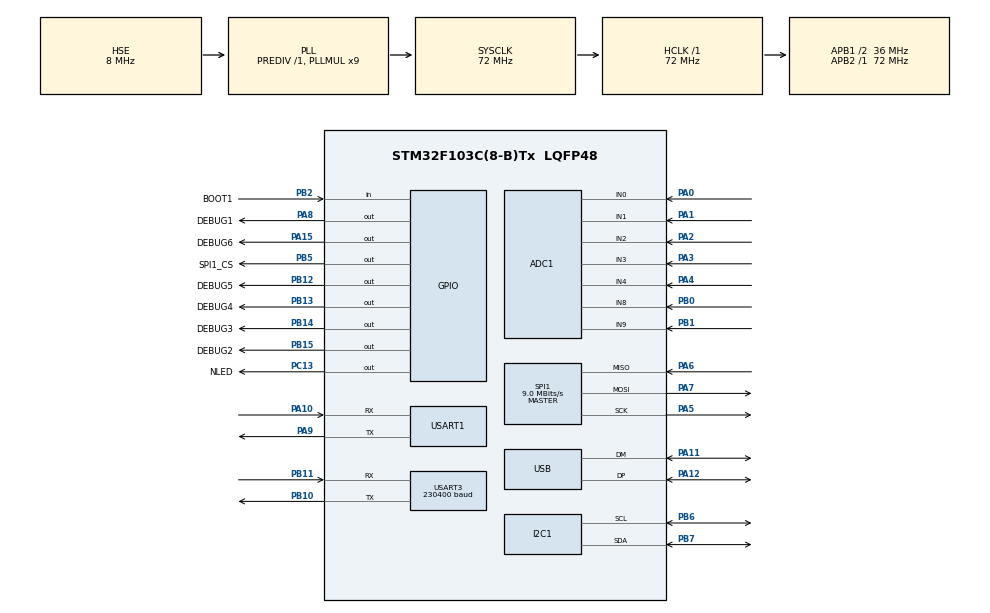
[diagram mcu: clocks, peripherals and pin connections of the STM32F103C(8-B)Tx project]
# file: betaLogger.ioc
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ADC1.Channel-0\#ChannelRegularConversion=ADC_CHANNEL_0
ADC1.Channel-1\#ChannelRegularConversion=ADC_CHANNEL_1
ADC1.Channel-2\#ChannelRegularConversion=ADC_CHANNEL_2
ADC1.Channel-3\#ChannelRegularConversion=ADC_CHANNEL_3
ADC1.Channel-4\#ChannelRegularConversion=ADC_CHANNEL_4
ADC1.Channel-5\#ChannelRegularConversion=ADC_CHANNEL_8
ADC1.Channel-6\#ChannelRegularConversion=ADC_CHANNEL_9
ADC1.ExternalTrigConv=ADC_EXTERNALTRIGCONV_T3_TRGO
ADC1.NbrOfConversion=7
ADC1.NbrOfConversionFlag=1
ADC1.Rank-0\#ChannelRegularConversion=1
ADC1.Rank-1\#ChannelRegularConversion=2
ADC1.Rank-2\#ChannelRegularConversion=3
ADC1.Rank-3\#ChannelRegularConversion=4
ADC1.Rank-4\#ChannelRegularConversion=5
ADC1.Rank-5\#ChannelRegularConversion=6
ADC1.Rank-6\#ChannelRegularConversion=7
ADC1.SamplingTime-0\#ChannelRegularConversion=ADC_SAMPLETIME_1CYCLE_5
ADC1.SamplingTime-1\#ChannelRegularConversion=ADC_SAMPLETIME_1CYCLE_5
ADC1.SamplingTime-2\#ChannelRegularConversion=ADC_SAMPLETIME_1CYCLE_5
ADC1.SamplingTime-3\#ChannelRegularConversion=ADC_SAMPLETIME_1CYCLE_5
ADC1.SamplingTime-4\#ChannelRegularConversion=ADC_SAMPLETIME_1CYCLE_5
ADC1.SamplingTime-5\#ChannelRegularConversion=ADC_SAMPLETIME_1CYCLE_5
ADC1.SamplingTime-6\#ChannelRegularConversion=ADC_SAMPLETIME_1CYCLE_5
ADC1.master=1
Dma.ADC1.2.Direction=DMA_PERIPH_TO_MEMORY
Dma.ADC1.2.Instance=DMA1_Channel1
Dma.ADC1.2.MemDataAlignment=DMA_MDATAALIGN_HALFWORD
Dma.ADC1.2.MemInc=DMA_MINC_ENABLE
Dma.ADC1.2.Mode=DMA_CIRCULAR
Dma.ADC1.2.PeriphDataAlignment=DMA_PDATAALIGN_HALFWORD
Dma.ADC1.2.PeriphInc=DMA_PINC_DISABLE
Dma.ADC1.2.Priority=DMA_PRIORITY_HIGH
Dma.Request0=USART3_RX
Dma.Request1=USART3_TX
Dma.Request2=ADC1
Dma.USART3_RX.0.Direction=DMA_PERIPH_TO_MEMORY
Dma.USART3_RX.0.Instance=DMA1_Channel3
Dma.USART3_RX.0.MemDataAlignment=DMA_MDATAALIGN_BYTE
Dma.USART3_RX.0.MemInc=DMA_MINC_ENABLE
Dma.USART3_RX.0.Mode=DMA_NORMAL
Dma.USART3_RX.0.PeriphDataAlignment=DMA_PDATAALIGN_BYTE
Dma.USART3_RX.0.PeriphInc=DMA_PINC_DISABLE
Dma.USART3_RX.0.Priority=DMA_PRIORITY_VERY_HIGH
Dma.USART3_TX.1.Direction=DMA_MEMORY_TO_PERIPH
Dma.USART3_TX.1.Instance=DMA1_Channel2
Dma.USART3_TX.1.MemDataAlignment=DMA_MDATAALIGN_BYTE
Dma.USART3_TX.1.MemInc=DMA_MINC_ENABLE
Dma.USART3_TX.1.Mode=DMA_NORMAL
Dma.USART3_TX.1.PeriphDataAlignment=DMA_PDATAALIGN_BYTE
Dma.USART3_TX.1.PeriphInc=DMA_PINC_DISABLE
Dma.USART3_TX.1.Priority=DMA_PRIORITY_VERY_HIGH
I2C1.I2C_Mode=I2C_Fast
Mcu.Family=STM32F1
Mcu.Name=STM32F103C(8-B)Tx
Mcu.Package=LQFP48
NVIC.ADC1_2_IRQn=true\:0\:0\:true\:false\:true\:true\:true
NVIC.DMA1_Channel1_IRQn=true\:0\:0\:false\:false\:true\:false\:true
NVIC.DMA1_Channel2_IRQn=true\:0\:0\:false\:false\:true\:false\:true
NVIC.DMA1_Channel3_IRQn=true\:0\:0\:false\:false\:true\:false\:true
NVIC.I2C1_ER_IRQn=true\:0\:0\:true\:false\:true\:true\:true
NVIC.I2C1_EV_IRQn=true\:0\:0\:true\:false\:true\:true\:true
NVIC.PriorityGroup=NVIC_PRIORITYGROUP_4
NVIC.TIM3_IRQn=true\:0\:0\:true\:false\:true\:true\:true
NVIC.USART3_IRQn=true\:15\:0\:true\:false\:true\:true\:true
PA0-WKUP.Signal=ADCx_IN0
PA1.Signal=ADCx_IN1
PA10.Mode=Asynchronous
PA10.Signal=USART1_RX
PA11.Mode=Device
PA11.Signal=USB_DM
PA12.Mode=Device
PA12.Signal=USB_DP
PA13.Mode=Serial_Wire
PA13.Signal=SYS_JTMS-SWDIO
PA14.Mode=Serial_Wire
PA14.Signal=SYS_JTCK-SWCLK
PA15.GPIO_Label=DEBUG6
PA15.Signal=GPIO_Output
PA2.Signal=ADCx_IN2
PA3.Signal=ADCx_IN3
PA4.Signal=ADCx_IN4
PA5.Mode=Full_Duplex_Master
PA5.Signal=SPI1_SCK
PA6.Mode=Full_Duplex_Master
PA6.Signal=SPI1_MISO
PA7.Mode=Full_Duplex_Master
PA7.Signal=SPI1_MOSI
PA8.GPIO_Label=DEBUG1
PA8.Signal=GPIO_Output
PA9.Mode=Asynchronous
PA9.Signal=USART1_TX
PB0.Signal=ADCx_IN8
PB1.Signal=ADCx_IN9
PB10.Mode=Asynchronous
PB10.Signal=USART3_TX
PB11.Mode=Asynchronous
PB11.Signal=USART3_RX
PB12.GPIO_Label=DEBUG5
PB12.Signal=GPIO_Output
PB13.GPIO_Label=DEBUG4
PB13.Signal=GPIO_Output
PB14.GPIO_Label=DEBUG3
PB14.Signal=GPIO_Output
PB15.GPIO_Label=DEBUG2
PB15.Signal=GPIO_Output
PB2.GPIO_Label=BOOT1
PB2.Signal=GPIO_Input
PB5.GPIO_Label=SPI1_CS
PB5.Signal=GPIO_Output
PB6.Mode=I2C
PB6.Signal=I2C1_SCL
PB7.Mode=I2C
PB7.Signal=I2C1_SDA
PC13-TAMPER-RTC.GPIO_Label=NLED
PC13-TAMPER-RTC.PinState=GPIO_PIN_SET
PC13-TAMPER-RTC.Signal=GPIO_Output
PD0-OSC_IN.Mode=HSE-External-Oscillator
PD0-OSC_IN.Signal=RCC_OSC_IN
PD1-OSC_OUT.Mode=HSE-External-Oscillator
PD1-OSC_OUT.Signal=RCC_OSC_OUT
ProjectManager.HeapSize=0x400
ProjectManager.StackSize=0x800
ProjectManager.TargetToolchain=Makefile
RCC.ADCPresc=RCC_ADCPCLK2_DIV6
RCC.AHBFreq_Value=72000000
RCC.APB1CLKDivider=RCC_HCLK_DIV2
RCC.APB1Freq_Value=36000000
RCC.APB1TimFreq_Value=72000000
RCC.APB2Freq_Value=72000000
RCC.APB2TimFreq_Value=72000000
RCC.HCLKFreq_Value=72000000
RCC.PLLMUL=RCC_PLL_MUL9
RCC.PLLSourceVirtual=RCC_PLLSOURCE_HSE
RCC.RCC_MCOSource=RCC_MCO1SOURCE_PLLCLK
RCC.SYSCLKFreq_VALUE=72000000
RCC.SYSCLKSource=RCC_SYSCLKSOURCE_PLLCLK
RCC.USBFreq_Value=48000000
RCC.USBPrescaler=RCC_USBCLKSOURCE_PLL_DIV1_5
SH.ADCx_IN0.0=ADC1_IN0,IN0
SH.ADCx_IN1.0=ADC1_IN1,IN1
SH.ADCx_IN2.0=ADC1_IN2,IN2
SH.ADCx_IN3.0=ADC1_IN3,IN3
SH.ADCx_IN4.0=ADC1_IN4,IN4
SH.ADCx_IN8.0=ADC1_IN8,IN8
SH.ADCx_IN9.0=ADC1_IN9,IN9
SPI1.BaudRatePrescaler=SPI_BAUDRATEPRESCALER_8
SPI1.CLKPhase=SPI_PHASE_2EDGE
SPI1.CLKPolarity=SPI_POLARITY_HIGH
SPI1.CalculateBaudRate=9.0 MBits/s
SPI1.Direction=SPI_DIRECTION_2LINES
SPI1.Mode=SPI_MODE_MASTER
SPI1.VirtualType=VM_MASTER
TIM3.Period=599
TIM3.Prescaler=599
TIM3.TIM_MasterOutputTrigger=TIM_TRGO_UPDATE
USART1.VirtualMode=VM_ASYNC
USART3.BaudRate=230400
USART3.VirtualMode=VM_ASYNC
VP_TIM3_VS_ClockSourceINT.Mode=Internal
board=custom

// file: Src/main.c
/* USER CODE BEGIN Header */
/**
  ******************************************************************************
  * @file           : main.c
  * @brief          : Main program body
  ******************************************************************************
  * @attention
  *
  * <h2><center>&copy; Copyright (c) 2019 STMicroelectronics.
  * All rights reserved.</center></h2>
  *
  * This software component is licensed by ST under BSD 3-Clause license,
  * the "License"; You may not use this file except in compliance with the
  * License. You may obtain a copy of the License at:
  *                        opensource.org/licenses/BSD-3-Clause
  *
  ******************************************************************************
  */
/* USER CODE END Header */

#include "main.h"
#include "adc.h"
#include "dma.h"
#include "i2c.h"
#include "spi.h"
#include "tim.h"
#include "usart.h"
#include "usb.h"
#include "gpio.h"

/* USER CODE BEGIN Includes */
#include <string.h>
#include <stdio.h>
#include "ff.h"

/* USER CODE END Includes */

/* USER CODE BEGIN PV */
FATFS SDFatFs;  /* File system object for SD card logical drive */
FIL MyFile;     /* File object */
char SDPath[4]; /* SD card logical drive path */
uint32_t byteswritten;                     /* File write/read counts */
FRESULT res;

char textTxBuffer[500];
char mpuBuffer[42];
char timeBuffer[12];
char adcBuffer[35];

uint8_t gpsReady;
uint8_t rawGps[51];
uint8_t sdBufferA[20][119];
uint8_t sdBufferB[20][119];
uint8_t sdBufferC[20][119];

uint16_t rawAdc[7];
uint8_t rawMpu[14];
uint8_t adcReady, mpuReady, timReady, nBuffer, dataReady;
/* USER CODE END PV */

void SystemClock_Config(void);

int main(void)
{
    /* USER CODE BEGIN 1 */
    char fileName[13];
    char fileHeader[184];
    uint16_t fileNumber = 0;

    uint8_t mpuConfigTx, mpuConfigRx;

    /* USER CODE END 1 */

    /* MCU Configuration--------------------------------------------------------*/

    /* Reset of all peripherals, Initializes the Flash interface and the Systick. */
    HAL_Init();

    /* Configure the system clock */
    SystemClock_Config();

    /* Initialize all configured peripherals */
    MX_GPIO_Init();
    MX_DMA_Init();
    MX_TIM3_Init();
    MX_USART1_UART_Init();
    MX_SPI1_Init();
    MX_USART3_UART_Init();
    MX_ADC1_Init();
    MX_I2C1_Init();
    MX_USB_PCD_Init();
    /* USER CODE BEGIN 2 */
    sprintf(textTxBuffer, "betaLogger USART1 test\r");
    HAL_UART_Transmit(&huart1, (uint8_t *)textTxBuffer, strlen(textTxBuffer), 500);

    f_mount(&SDFatFs, (TCHAR const *)SDPath, 0);
    while (res == FR_OK) {
        sprintf(fileName, "file%04d.dlf", ++fileNumber);
        res = f_open(&MyFile, fileName, FA_OPEN_EXISTING | FA_READ);
    }
    f_open(&MyFile, fileName, FA_OPEN_ALWAYS | FA_WRITE);
    sprintf(fileHeader,
            "#V2\r#DATASTART\rDatalog Time; GPS Latitude; GPS Longitude; GPS Speed;Ax;Ay;Az;Gx;Gy;Gz;A1;A2;A3;A4;A5;A6;A7;\rseg.; deg; deg; knots;un.;un.;un.;un.;un.;un.;un.;un.;un.;un.;un.;un.;un.;\r");
    fileHeader[183] = 0x0A;
    f_write(&MyFile, fileHeader, sizeof(fileHeader), (void *)&byteswritten);
    f_sync(&MyFile);

    for(int i = 0; i < 20; i++) {
        for(int j = 0; j < 82; j++) {
            sdBufferA[i][j] = 0x30;
        }
        sdBufferA[i][10] = 0x41;
        sdBufferA[i][22] = 0x41;
        sdBufferA[i][34] = 0x41;
        sdBufferA[i][40] = 0x41;
        sdBufferA[i][47] = 0x41;
        sdBufferA[i][54] = 0x41;
        sdBufferA[i][61] = 0x41;
        sdBufferA[i][68] = 0x41;
        sdBufferA[i][75] = 0x41;
        sdBufferA[i][82] = 0x41;
        sdBufferA[i][87] = 0x41;
        sdBufferA[i][92] = 0x41;
        sdBufferA[i][97] = 0x41;
        sdBufferA[i][102] = 0x41;
        sdBufferA[i][107] = 0x41;
        sdBufferA[i][112] = 0x41;
        sdBufferA[i][117] = 0x0D;
        sdBufferA[i][118] = 0x0A;
    }

    for(int i = 0; i < 20; i++) {
        for(int j = 0; j < 119; j++) {
            sdBufferB[i][j] = sdBufferA[i][j];
            sdBufferC[i][j] = sdBufferA[i][j];
        }
    }

    HAL_I2C_Mem_Read(&hi2c1, 0xD0, 0x75, I2C_MEMADD_SIZE_8BIT, &mpuConfigRx, 1, 100);
    // sprintf(txBuffer, "Slave Address: %x \r", mpuConfigRx);
    // HAL_UART_Transmit(&huart1, (uint8_t *)txBuffer, strlen(txBuffer), 500);

    HAL_I2C_Mem_Read(&hi2c1, 0xD0, 0x1A, I2C_MEMADD_SIZE_8BIT, &mpuConfigRx, 1, 100);
    // sprintf(txBuffer, "FIFO config: %x \r", mpuConfigRx);
    // HAL_UART_Transmit(&huart1, (uint8_t *)txBuffer, strlen(txBuffer), 500);

    mpuConfigTx = 0b00001000;
    HAL_I2C_Mem_Write(&hi2c1, 0xD0, 0x1B, I2C_MEMADD_SIZE_8BIT, &mpuConfigTx, 1, 100);
    HAL_I2C_Mem_Read(&hi2c1, 0xD0, 0x1B, I2C_MEMADD_SIZE_8BIT, &mpuConfigRx, 1, 100);
    // sprintf(txBuffer, "Gyr cfig: %x \r", mpuConfigRx);
    // HAL_UART_Transmit(&huart1, (uint8_t *)txBuffer, strlen(txBuffer), 500);

    mpuConfigTx = 0b00011000;
    HAL_I2C_Mem_Write(&hi2c1, 0xD0, 0x1C, I2C_MEMADD_SIZE_8BIT, &mpuConfigTx, 1, 100);
    HAL_I2C_Mem_Read(&hi2c1, 0xD0, 0x1C, I2C_MEMADD_SIZE_8BIT, &mpuConfigRx, 1, 100);
    // sprintf(txBuffer, "Acc cfig: %x \r", mpuConfigRx);
    // HAL_UART_Transmit(&huart1, (uint8_t *)txBuffer, strlen(txBuffer), 500);

    HAL_UART_Receive_DMA(&huart3, (uint8_t *)&rawGps, 51);
    HAL_TIM_Base_Start_IT(&htim3);
    HAL_ADCEx_Calibration_Start(&hadc1);
    HAL_ADC_Start_DMA(&hadc1, (uint32_t *) rawAdc, 7);

    adcReady = 0;
    mpuReady = 0;
    gpsReady = 0;
    timReady = 0;
    nBuffer = 1;
    /* USER CODE END 2 */

    /* Infinite loop */
    /* USER CODE BEGIN WHILE */
    while (1)
    {
        if (gpsReady == 0) {
            HAL_GPIO_WritePin(GPIOB, GPIO_PIN_15, GPIO_PIN_SET);
            if (rawGps[1] == 0x47 && rawGps[17] == 0x41) {
                // HAL_GPIO_WritePin(GPIOB, GPIO_PIN_15, GPIO_PIN_SET);
                if(nBuffer == 1) {
                    sdBufferA[0][11] = 0x2D;				//-
                    for(int j = 12; j < 22; j++) { 			//latitude
                        sdBufferA[0][j] = rawGps[j+7];
                    }
                    sdBufferA[0][23] = 0x2D;				//-
                    for(int j = 24; j < 34; j++) { 			//longitude
                        sdBufferA[0][j] = rawGps[j+9];
                    }
                    for(int j = 35; j < 40; j++) { 			//speed
                        sdBufferA[0][j] = rawGps[j+11];
                    }

                    for(int i = 1; i < 20; i++) {
                        for(int j = 11; j < 41; j++) {
                            sdBufferA[i][j] = sdBufferA[0][j];
                        }
                    }

                    for(int i = 0; i < 20; i++) {
                        for(int j = 11; j < 41; j++) {
                            sdBufferB[i][j] = sdBufferA[i][j];
                            sdBufferC[i][j] = sdBufferA[i][j];
                        }
                    }
                }
                else if(nBuffer == 2) {
                    sdBufferB[0][11] = 0x2D;				//-
                    for(int j = 12; j < 22; j++) { 			//latitude
                        sdBufferB[0][j] = rawGps[j+7];
                    }
                    sdBufferB[0][23] = 0x2D;				//-
                    for(int j = 24; j < 34; j++) { 			//longitude
                        sdBufferB[0][j] = rawGps[j+9];
                    }
                    for(int j = 35; j < 40; j++) { 			//speed
                        sdBufferB[0][j] = rawGps[j+11];
                    }

                    for(int i = 1; i < 20; i++) {
                        for(int j = 11; j < 41; j++) {
                            sdBufferB[i][j] = sdBufferB[0][j];
                        }
                    }

                    for(int i = 0; i < 20; i++) {
                        for(int j = 11; j < 41; j++) {
                            sdBufferA[i][j] = sdBufferB[i][j];
                            sdBufferC[i][j] = sdBufferB[i][j];
                        }
                    }
                }
                else if(nBuffer == 3) {
                    sdBufferC[0][11] = 0x2D;				//-
                    for(int j = 12; j < 22; j++) { 			//latitude
                        sdBufferC[0][j] = rawGps[j+7];
                    }
                    sdBufferC[0][23] = 0x2D;				//-
                    for(int j = 24; j < 34; j++) { 			//longitude
                        sdBufferC[0][j] = rawGps[j+9];
                    }
                    for(int j = 35; j < 40; j++) { 			//speed
                        sdBufferC[0][j] = rawGps[j+11];
                    }

                    for(int i = 1; i < 20; i++) {
                        for(int j = 11; j < 41; j++) {
                            sdBufferC[i][j] = sdBufferC[0][j];
                        }
                    }

                    for(int i = 0; i < 20; i++) {
                        for(int j = 11; j < 41; j++) {
                            sdBufferA[i][j] = sdBufferC[i][j];
                            sdBufferB[i][j] = sdBufferC[i][j];
                        }
                    }
                }
                HAL_GPIO_WritePin(GPIOA, GPIO_PIN_8, GPIO_PIN_SET);
                // HAL_GPIO_WritePin(GPIOB, GPIO_PIN_15, GPIO_PIN_RESET);
            } else {
                HAL_GPIO_WritePin(GPIOA, GPIO_PIN_8, GPIO_PIN_RESET);
            }
            gpsReady = 1;
            // HAL_Delay(1);
            HAL_UART_Receive_DMA(&huart3, (uint8_t *)&rawGps, 51);
            HAL_GPIO_WritePin(GPIOB, GPIO_PIN_15, GPIO_PIN_RESET);
        }

        if (mpuReady == 1 && timReady == 1) {
            if (adcReady == 1) {
                HAL_GPIO_WritePin(GPIOA, GPIO_PIN_15, GPIO_PIN_SET);
                if(nBuffer == 1) {
                    // HAL_GPIO_WritePin(GPIOC, GPIO_PIN_13, GPIO_PIN_RESET);
                    nBuffer = 2;
                    adcReady = 0;
                    mpuReady = 0;
                    gpsReady = 0;
                    timReady = 0;
                    f_write(&MyFile, sdBufferA, sizeof(sdBufferA), (void *)&byteswritten);
                    f_sync(&MyFile);
                    // HAL_GPIO_WritePin(GPIOC, GPIO_PIN_13, GPIO_PIN_SET);
                }
                else if(nBuffer == 2) {
                    // HAL_GPIO_WritePin(GPIOC, GPIO_PIN_13, GPIO_PIN_RESET);
                    nBuffer = 3;
                    adcReady = 0;
                    mpuReady = 0;
                    gpsReady = 0;
                    timReady = 0;
                    f_write(&MyFile, sdBufferB, sizeof(sdBufferB), (void *)&byteswritten);
                    f_sync(&MyFile);
                    // HAL_GPIO_WritePin(GPIOC, GPIO_PIN_13, GPIO_PIN_SET);
                }
                else if(nBuffer == 3) {
                    // HAL_GPIO_WritePin(GPIOC, GPIO_PIN_13, GPIO_PIN_RESET);
                    nBuffer = 1;
                    adcReady = 0;
                    mpuReady = 0;
                    gpsReady = 0;
                    timReady = 0;
                    f_write(&MyFile, sdBufferC, sizeof(sdBufferC), (void *)&byteswritten);
                    f_sync(&MyFile);
                    // HAL_GPIO_WritePin(GPIOC, GPIO_PIN_13, GPIO_PIN_SET);
                }
                HAL_GPIO_TogglePin(GPIOC, GPIO_PIN_13);
                // HAL_GPIO_WritePin(GPIOC, GPIO_PIN_13, GPIO_PIN_RESET);
                HAL_GPIO_WritePin(GPIOA, GPIO_PIN_15, GPIO_PIN_RESET);
            }
        }

        /* USER CODE END WHILE */

    }
}

void SystemClock_Config(void)
{
    RCC_OscInitTypeDef RCC_OscInitStruct = {0};
    RCC_ClkInitTypeDef RCC_ClkInitStruct = {0};
    RCC_PeriphCLKInitTypeDef PeriphClkInit = {0};

    /** Initializes the CPU, AHB and APB busses clocks
    */
    RCC_OscInitStruct.OscillatorType = RCC_OSCILLATORTYPE_HSE;
    RCC_OscInitStruct.HSEState = RCC_HSE_ON;
    RCC_OscInitStruct.HSEPredivValue = RCC_HSE_PREDIV_DIV1;
    RCC_OscInitStruct.HSIState = RCC_HSI_ON;
    RCC_OscInitStruct.PLL.PLLState = RCC_PLL_ON;
    RCC_OscInitStruct.PLL.PLLSource = RCC_PLLSOURCE_HSE;
    RCC_OscInitStruct.PLL.PLLMUL = RCC_PLL_MUL9;
    if (HAL_RCC_OscConfig(&RCC_OscInitStruct) != HAL_OK)
    {
        Error_Handler();
    }
    /** Initializes the CPU, AHB and APB busses clocks
    */
    RCC_ClkInitStruct.ClockType = RCC_CLOCKTYPE_HCLK|RCC_CLOCKTYPE_SYSCLK
                                  |RCC_CLOCKTYPE_PCLK1|RCC_CLOCKTYPE_PCLK2;
    RCC_ClkInitStruct.SYSCLKSource = RCC_SYSCLKSOURCE_PLLCLK;
    RCC_ClkInitStruct.AHBCLKDivider = RCC_SYSCLK_DIV1;
    RCC_ClkInitStruct.APB1CLKDivider = RCC_HCLK_DIV2;
    RCC_ClkInitStruct.APB2CLKDivider = RCC_HCLK_DIV1;

    if (HAL_RCC_ClockConfig(&RCC_ClkInitStruct, FLASH_LATENCY_2) != HAL_OK)
    {
        Error_Handler();
    }
    PeriphClkInit.PeriphClockSelection = RCC_PERIPHCLK_ADC|RCC_PERIPHCLK_USB;
    PeriphClkInit.AdcClockSelection = RCC_ADCPCLK2_DIV6;
    PeriphClkInit.UsbClockSelection = RCC_USBCLKSOURCE_PLL_DIV1_5;
    if (HAL_RCCEx_PeriphCLKConfig(&PeriphClkInit) != HAL_OK)
    {
        Error_Handler();
    }
}

/* USER CODE BEGIN 4 */
void HAL_TIM_PeriodElapsedCallback(TIM_HandleTypeDef *htim)
{
    // HAL_GPIO_WritePin(GPIOB, GPIO_PIN_13, GPIO_PIN_SET);
}

void HAL_I2C_MemRxCpltCallback(I2C_HandleTypeDef *hi2c)
{
    // HAL_GPIO_WritePin(GPIOB, GPIO_PIN_13, GPIO_PIN_SET);
    // HAL_GPIO_WritePin(GPIOB, GPIO_PIN_14, GPIO_PIN_SET);

    static uint32_t seconds, millis;

    millis = millis + 5;

    if(millis == 1000) {
        millis =0;
        seconds++;
    }

    sprintf(timeBuffer,"%06d.%03dA", seconds, millis);

    static uint8_t iTim = 0;

    if(timReady ==0) {
        if(nBuffer ==1) {
            for (int i = 0; i < 11; i++) {
                sdBufferA[iTim][i] = timeBuffer[i];
            }
        } else if(nBuffer ==2) {
            for (int i = 0; i < 11; i++) {
                sdBufferB[iTim][i] = timeBuffer[i];
            }
        }
        else if(nBuffer ==3) {
            for (int i = 0; i < 11; i++) {
                sdBufferC[iTim][i] = timeBuffer[i];
            }
        }

        iTim++;
        if (iTim == 20) {
            timReady = 1;
            iTim = 0;
        }
    }

    // HAL_GPIO_WritePin(GPIOB, GPIO_PIN_12, GPIO_PIN_RESET);
    // HAL_GPIO_WritePin(GPIOB, GPIO_PIN_14, GPIO_PIN_SET);

    uint32_t adc1 = rawAdc[0];
    uint32_t adc2 = rawAdc[1];
    uint32_t adc3 = rawAdc[2];
    uint32_t adc4 = rawAdc[3];
    uint32_t adc5 = rawAdc[4];
    uint32_t adc6 = rawAdc[5];
    uint32_t adc7 = rawAdc[6];

    static uint8_t iAdc = 0;

    if(adcReady == 0) {
        sprintf(adcBuffer, "%04hdA%04hdA%04hdA%04hdA%04hdA%04hdA%04hd", adc1, adc2, adc3, adc4, adc5, adc6, adc7);

        if(nBuffer == 1) {
            for (int i = 0; i < 34; i++) {
                sdBufferA[iAdc][i+83] = adcBuffer[i];
            }
        } else if(nBuffer == 2) {
            for (int i = 0; i < 34; i++) {
                sdBufferB[iAdc][i+83] = adcBuffer[i];
            }
        }
        else if(nBuffer == 3) {
            for (int i = 0; i < 34; i++) {
                sdBufferC[iAdc][i+83] = adcBuffer[i];
            }
        }

        iAdc++;
        if (iAdc == 20) {
            adcReady = 1;
            iAdc = 0;
        }
    }

    // HAL_GPIO_WritePin(GPIOB, GPIO_PIN_14, GPIO_PIN_RESET);
    // HAL_GPIO_WritePin(GPIOB, GPIO_PIN_13, GPIO_PIN_SET);

    uint32_t xAcc = (rawMpu[0] << 8) | (0x00F0 & rawMpu[1]);
    uint32_t yAcc = (rawMpu[2] << 8) | (0x00F0 & rawMpu[3]);
    uint32_t zAcc = (rawMpu[4] << 8) | (0x00F0 & rawMpu[5]);
    uint32_t xGyr = (rawMpu[8] << 8) | (0x00FF & rawMpu[9]);
    uint32_t yGyr = (rawMpu[10] << 8) | (0x00FF & rawMpu[11]);
    uint32_t zGyr = (rawMpu[12] << 8) | (0x00FF & rawMpu[13]);

    static uint8_t iMpu = 0;

    if(mpuReady == 0) {
        sprintf(mpuBuffer, "%06hdA%06hdA%06hdA%06hdA%06hdA%06hd", xAcc, yAcc, zAcc, xGyr, yGyr, zGyr);

        if(nBuffer == 1) {
            for (int i = 0; i < 41; i++) {
                sdBufferA[iMpu][i+41] = mpuBuffer[i];
            }
        } else if(nBuffer == 2) {
            for (int i = 0; i < 41; i++) {
                sdBufferB[iMpu][i+41] = mpuBuffer[i];
            }
        }
        else if(nBuffer == 3) {
            for (int i = 0; i < 41; i++) {
                sdBufferC[iMpu][i+41] = mpuBuffer[i];
            }
        }

        iMpu++;
        if (iMpu == 20) {
            mpuReady = 1;
            iMpu = 0;
        }
    }

    // HAL_GPIO_WritePin(GPIOB, GPIO_PIN_14, GPIO_PIN_RESET);
    // HAL_GPIO_WritePin(GPIOB, GPIO_PIN_13, GPIO_PIN_RESET);
}

void HAL_UART_RxCpltCallback(UART_HandleTypeDef *huart)
{
    // HAL_GPIO_WritePin(GPIOA, GPIO_PIN_15, GPIO_PIN_SET);
    // HAL_GPIO_WritePin(GPIOA, GPIO_PIN_15, GPIO_PIN_RESET);
}

void HAL_ADC_ConvCpltCallback(ADC_HandleTypeDef *hadc)
{
    // HAL_GPIO_WritePin(GPIOB, GPIO_PIN_12, GPIO_PIN_SET);
    // HAL_GPIO_WritePin(GPIOB, GPIO_PIN_12, GPIO_PIN_RESET);
    HAL_I2C_Mem_Read_IT(&hi2c1, 0xD0, 0x3B, I2C_MEMADD_SIZE_8BIT, rawMpu, 14);
}
/* USER CODE END 4 */

void Error_Handler(void)
{
}

/************************ (C) COPYRIGHT STMicroelectronics *****END OF FILE****/
